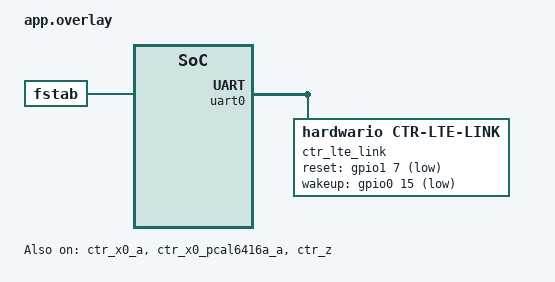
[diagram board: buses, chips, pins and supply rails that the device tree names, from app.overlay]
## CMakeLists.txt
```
#
# Copyright (c) 2024 HARDWARIO a.s.
#
# SPDX-License-Identifier: LicenseRef-HARDWARIO-5-Clause
#

cmake_minimum_required(VERSION 3.20.0)

set(ENV{FW_BUNDLE} "com.hardwario.chester.app.range")
set(ENV{FW_NAME} "CHESTER Range")

# Derive firmware version from git (see scripts/version.cmake); the fallback is
# used when git is unavailable at build time.
set(FW_VERSION_FALLBACK "v3.0.0")
include(${CMAKE_CURRENT_SOURCE_DIR}/../../scripts/version.cmake)

find_package(Zephyr REQUIRED HINTS $ENV{ZEPHYR_BASE})

project(chester-range)

include(${ZEPHYR_CHESTER_MODULE_DIR}/scripts/app_codec.cmake)

target_sources(app PRIVATE src/app_cbor.c)
target_sources(app PRIVATE src/app_config.c)
target_sources(app PRIVATE src/app_data.c)
target_sources(app PRIVATE src/app_handler.c)
target_sources(app PRIVATE src/app_init.c)
target_sources(app PRIVATE src/app_send.c)
target_sources(app PRIVATE src/app_sensor.c)
target_sources(app PRIVATE src/app_shell.c)
target_sources(app PRIVATE src/app_work.c)
target_sources(app PRIVATE src/main.c)

target_precompile_headers(app PRIVATE src/feature.h)

# ### Preserved code "cmake" (begin)
# ^^^ Preserved code "cmake" (end)
```

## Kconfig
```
#
# Copyright (c) 2024 HARDWARIO a.s.
#
# SPDX-License-Identifier: LicenseRef-HARDWARIO-5-Clause
#

menu "Application"

# CHESTER-APP-REPORT-JITTER
config APP_REPORT_JITTER
	bool "Add random time jitter to report transfers"
	default y
	select ENTROPY_GENERATOR
# HARDWARE-CHESTER-MB7066-A
config SHIELD_CTR_MB7066_A
	bool "Enable SHIELD_CTR_MB7066_A"
	default y

config CTR_X0
	default y

config MB7066
	default y
# HARDWARE-CHESTER-Z
config SHIELD_CTR_Z
	bool "Enable SHIELD_CTR_Z"
	default y

config CTR_Z
	default y

config I2C
	default y
# SUBSYSTEM-DS18B20
config SHIELD_CTR_DS18B20
	bool "Enable SHIELD_CTR_DS18B20"
	default y

config CTR_DS18B20
	default y
# SUBSYSTEM-LTE-V2
config SHIELD_CTR_LTE_V2
	bool "Enable SHIELD_CTR_LTE_V2"
	default y

config CTR_LTE_V2
	default y

# ### Preserved code "k_config" (begin)
config SHIELD_CTR_MB7066_A
	bool "Enable SHIELD_CTR_MB7066_A"
	default y
# ^^^ Preserved code "k_config" (end)

rsource "Kconfig.variant"

endmenu

menu "Zephyr Kernel"
source "Kconfig.zephyr"
endmenu
```

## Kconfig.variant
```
#
# Copyright (c) 2024 HARDWARIO a.s.
#
# SPDX-License-Identifier: LicenseRef-HARDWARIO-5-Clause
#

config VARIANT_RANGE
    bool "Enable VARIANT_RANGE"
    default y
```

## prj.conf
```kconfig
#
# Copyright (c) 2024 HARDWARIO a.s.
#
# SPDX-License-Identifier: LicenseRef-HARDWARIO-5-Clause
#

# Configurations
# SUBSYSTEM-ACCEL
CONFIG_CTR_ACCEL=y
# SUBSYSTEM-BATT
CONFIG_CTR_BATT=y
# SUBSYSTEM-BLE-TAG
CONFIG_CTR_BLE_TAG=y
# SUBSYSTEM-BLUETOOTH
CONFIG_CTR_BLE=y
# SUBSYSTEM-BT-FILTER-ACCEPT-LIST
CONFIG_BT_FILTER_ACCEPT_LIST=y
# SUBSYSTEM-BT-OBSERVER
CONFIG_BT_OBSERVER=y
# SUBSYSTEM-BUF
CONFIG_CTR_BUF=y
# SUBSYSTEM-BUTTON
CONFIG_CTR_BUTTON=y
# SUBSYSTEM-CLOUD
CONFIG_CTR_CLOUD=y
CONFIG_SETTINGS_SHELL=y
CONFIG_IMG_MANAGER=y
CONFIG_BOOTLOADER_MCUBOOT=y
CONFIG_SPI=y
CONFIG_DFU_TARGET=y
CONFIG_DFU_TARGET_STREAM=y
CONFIG_DFU_TARGET_MCUBOOT=y
CONFIG_DFU_TARGET_LOG_LEVEL_DBG=y
CONFIG_STREAM_FLASH_ERASE=y
CONFIG_STREAM_FLASH=y
CONFIG_FILE_SYSTEM=y
CONFIG_FILE_SYSTEM_LITTLEFS=y
CONFIG_FILE_SYSTEM_MKFS=y
CONFIG_FILE_SYSTEM_SHELL=y
CONFIG_SETTINGS_FILE=y
CONFIG_SETTINGS_FILE_PATH="/lfs1/settings/run"
# SUBSYSTEM-DEFAULTS
CONFIG_CTR_DEFAULTS=y
# SUBSYSTEM-DS18B20
CONFIG_CTR_DS18B20=y
# SUBSYSTEM-INFO
CONFIG_CTR_INFO=y
# SUBSYSTEM-LED
CONFIG_CTR_LED=y
# SUBSYSTEM-LOG
CONFIG_CTR_LOG=y
# SUBSYSTEM-LTE-V2
CONFIG_CTR_LTE_V2=y
# SUBSYSTEM-POWER
CONFIG_CTR_POWER=y
# SUBSYSTEM-RTC
CONFIG_CTR_RTC=y
# SUBSYSTEM-SHELL
CONFIG_CTR_SHELL=y
# SUBSYSTEM-THERM
CONFIG_CTR_THERM=y
# SUBSYSTEM-WDOG
CONFIG_CTR_WDOG=y
# SUBSYSTEM-ZCBOR
CONFIG_ZCBOR=y
CONFIG_ZCBOR_STOP_ON_ERROR=y
# Extra configurations
CONFIG_GPIO_SHELL=y
CONFIG_I2C_SHELL=y
CONFIG_ISR_TABLES_LOCAL_DECLARATION=y
CONFIG_LTO=y
CONFIG_MCUBOOT_SHELL=y

# ### Preserved code "config" (begin)
CONFIG_BUILD_OUTPUT_META=y
CONFIG_BUILD_OUTPUT_META_STATE_PROPAGATE=y
CONFIG_SETTINGS_SHELL=y

CONFIG_IMG_MANAGER=y
CONFIG_BOOTLOADER_MCUBOOT=y

CONFIG_SPI=y

CONFIG_DFU_TARGET=y
CONFIG_DFU_TARGET_STREAM=y
CONFIG_DFU_TARGET_MCUBOOT=y
CONFIG_DFU_TARGET_LOG_LEVEL_DBG=y
CONFIG_STREAM_FLASH_ERASE=y
CONFIG_STREAM_FLASH=y

# Enable file system support
CONFIG_FILE_SYSTEM=y
CONFIG_FILE_SYSTEM_LITTLEFS=y
CONFIG_FILE_SYSTEM_MKFS=y
CONFIG_FILE_SYSTEM_SHELL=y
CONFIG_SETTINGS_FILE=y
CONFIG_SETTINGS_FILE_PATH="/lfs1/settings/run"

# Use external flash for littlefs file system

CONFIG_MB7066_TIMER4=y
CONFIG_MB7066_SAMPLE_COUNT=1
CONFIG_CTR_CLOUD_SPOOL=y
# ^^^ Preserved code "config" (end)
```

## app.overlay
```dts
/*
 * Copyright (c) 2024 HARDWARIO a.s.
 *
 * SPDX-License-Identifier: LicenseRef-HARDWARIO-5-Clause
 */

/* HARDWARE-CHESTER-MB7066-A  */
&ctr_x0_a {
	status = "okay";
	mb7066: mb7066 {
		compatible = "maxbotix,mb7066";
		status = "okay";
		pin-chan = <2>;
		power-chan = <1>;
	};
};

&ctr_x0_pcal6416a_a {
	status = "okay";
};
/* HARDWARE-CHESTER-Z  */
&ctr_z {
	status = "okay";
};
/* SUBSYSTEM-CLOUD  */
/ {
	fstab {
		compatible = "zephyr,fstab";
		lfs1: lfs1 {
			compatible = "zephyr,fstab,littlefs";
			mount-point = "/lfs1";
			partition = <&littlefs_storage>;
			automount;
			read-size = <16>;
			prog-size = <16>;
			cache-size = <64>;
			lookahead-size = <32>;
			block-cycles = <512>;
		};
	};
};
/* SUBSYSTEM-DS18B20  */
&ds2484 {
	ds18b20_0: ds18b20_0 {
		compatible = "maxim,ds18b20";
		resolution = <12>;
		family-code = <0x28>;
	};

	ds18b20_1: ds18b20_1 {
		compatible = "maxim,ds18b20";
		resolution = <12>;
		family-code = <0x28>;
	};

	ds18b20_2: ds18b20_2 {
		compatible = "maxim,ds18b20";
		resolution = <12>;
		family-code = <0x28>;
	};

	ds18b20_3: ds18b20_3 {
		compatible = "maxim,ds18b20";
		resolution = <12>;
		family-code = <0x28>;
	};

	ds18b20_4: ds18b20_4 {
		compatible = "maxim,ds18b20";
		resolution = <12>;
		family-code = <0x28>;
	};

	ds18b20_5: ds18b20_5 {
		compatible = "maxim,ds18b20";
		resolution = <12>;
		family-code = <0x28>;
	};

	ds18b20_6: ds18b20_6 {
		compatible = "maxim,ds18b20";
		resolution = <12>;
		family-code = <0x28>;
	};

	ds18b20_7: ds18b20_7 {
		compatible = "maxim,ds18b20";
		resolution = <12>;
		family-code = <0x28>;
	};

	ds18b20_8: ds18b20_8 {
		compatible = "maxim,ds18b20";
		resolution = <12>;
		family-code = <0x28>;
	};

	ds18b20_9: ds18b20_9 {
		compatible = "maxim,ds18b20";
		resolution = <12>;
		family-code = <0x28>;
	};
};
/* SUBSYSTEM-LTE-V2  */
/ {
	chosen {
		ctr,lte_link = &ctr_lte_link;
	};
};

&uart0 {
	status = "okay";

	ctr_lte_link: ctr_lte_link {
		compatible = "hardwario,ctr-lte-link";
		status = "okay";
		reset-gpios = <&gpio1 7 (GPIO_ACTIVE_LOW | GPIO_OPEN_DRAIN)>;
		wakeup-gpios = <&gpio0 15 (GPIO_ACTIVE_LOW | GPIO_OPEN_DRAIN)>;
	};
};

&uart0 {
	status = "okay";
};

/* ### Preserved code "overlay" (begin) */
/ {
	fstab {
		compatible = "zephyr,fstab";
		lfs1: lfs1 {
			compatible = "zephyr,fstab,littlefs";
			mount-point = "/lfs1";
			partition = <&littlefs_storage>;
			automount;
			read-size = <16>;
			prog-size = <16>;
			cache-size = <64>;
			lookahead-size = <32>;
			block-cycles = <512>;
		};
	};
};
/* ^^^ Preserved code "overlay" (end) */
```

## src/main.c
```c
/*
 * Copyright (c) 2023 HARDWARIO a.s.
 *
 * SPDX-License-Identifier: LicenseRef-HARDWARIO-5-Clause
 */

#include "app_init.h"
#include "app_config.h"

/* CHESTER includes */
#include <chester/ctr_led.h>
#include <chester/ctr_wdog.h>

/* Zephyr includes */
#include <zephyr/kernel.h>
#include <zephyr/logging/log.h>

/* Standard includes */
#include <stdbool.h>

LOG_MODULE_REGISTER(main, LOG_LEVEL_DBG);

extern struct ctr_wdog_channel g_app_wdog_channel;

int main(void)
{
	int ret;

	LOG_INF("Build time: " __DATE__ " " __TIME__);

	ret = app_init();
	if (ret) {
		LOG_ERR("Call `app_init` failed: %d", ret);
		k_oops();
	}

	for (;;) {
		LOG_INF("Alive");

		ret = ctr_wdog_feed(&g_app_wdog_channel);
		if (ret) {
			LOG_ERR("Call `ctr_wdog_feed` failed: %d", ret);
			k_oops();
		}

		if (g_app_config.mode == APP_CONFIG_MODE_NONE) {
			ctr_led_set(CTR_LED_CHANNEL_Y, true);
			k_sleep(K_MSEC(30));
			ctr_led_set(CTR_LED_CHANNEL_Y, false);
		} else {
			ctr_led_set(CTR_LED_CHANNEL_G, true);
			k_sleep(K_MSEC(30));
			ctr_led_set(CTR_LED_CHANNEL_G, false);
		}

		k_sleep(K_SECONDS(5));
	}

	return 0;
}
```

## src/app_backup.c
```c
/*
 * Copyright (c) 2023 HARDWARIO a.s.
 *
 * SPDX-License-Identifier: LicenseRef-HARDWARIO-5-Clause
 */

#include "app_backup.h"
#include "app_data.h"
#include "feature.h"

/* CHESTER includes */
#include <chester/drivers/ctr_z.h>

/* Zephyr includes */
#include <zephyr/device.h>
#include <zephyr/devicetree.h>
#include <zephyr/kernel.h>
#include <zephyr/logging/log.h>

/* Standard includes */
#include <errno.h>
#include <math.h>
#include <stdbool.h>

LOG_MODULE_REGISTER(app_backup, LOG_LEVEL_DBG);

#if defined(FEATURE_HARDWARE_CHESTER_Z)

int app_backup_sample(void)
{
	int ret;

	static const struct device *dev = DEVICE_DT_GET(DT_NODELABEL(ctr_z));

	if (!device_is_ready(dev)) {
		LOG_ERR("Device not ready");
		ret = -ENODEV;
		goto error;
	}

	struct ctr_z_status status;
	ret = ctr_z_get_status(dev, &status);
	if (ret) {
		LOG_ERR("Call `ctr_z_get_status` failed: %d", ret);
		goto error;
	}

	LOG_INF("DC input connected: %d", status.dc_input_connected);

	uint16_t vdc;
	ret = ctr_z_get_vdc_mv(dev, &vdc);
	if (ret) {
		LOG_ERR("Call `ctr_z_get_vdc_mv` failed: %d", ret);
		goto error;
	}

	LOG_INF("Voltage DC input: %u mV", vdc);

	uint16_t vbat;
	ret = ctr_z_get_vbat_mv(dev, &vbat);
	if (ret) {
		LOG_ERR("Call `ctr_z_get_vbat_mv` failed: %d", ret);
		goto error;
	}

	LOG_INF("Voltage backup battery: %u mV", vbat);

	app_data_lock();
	g_app_data.backup.line_present = status.dc_input_connected;
	g_app_data.backup.line_voltage = vdc / 1000.f;
	g_app_data.backup.battery_voltage = vbat / 1000.f;
	app_data_unlock();

	return 0;

error:
	app_data_lock();
	g_app_data.backup.line_present = false;
	g_app_data.backup.line_voltage = NAN;
	g_app_data.backup.battery_voltage = NAN;
	app_data_unlock();

	return ret;
}

int app_backup_clear(void)
{
	app_data_lock();
	g_app_data.backup.event_count = 0;
	app_data_unlock();

	return 0;
}

#endif /* defined(FEATURE_HARDWARE_CHESTER_Z) */
```

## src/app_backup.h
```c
#ifndef APP_BACKUP_H_
#define APP_BACKUP_H_

#ifdef __cplusplus
extern "C" {
#endif

int app_backup_sample(void);
int app_backup_clear(void);

#ifdef __cplusplus
}
#endif

#endif /* APP_BACKUP_H_ */
```

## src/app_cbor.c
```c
/*
 * Copyright (c) 2024 HARDWARIO a.s.
 *
 * SPDX-License-Identifier: LicenseRef-HARDWARIO-5-Clause
 */

#include "app_cbor.h"
#include "app_codec.h"
#include "app_config.h"
#include "app_data.h"

/* CHESTER includes */
#include <chester/ctr_info.h>
#include <chester/ctr_lte_v2.h>
#include <chester/ctr_rtc.h>
#include <chester/ctr_util.h>

/* Zephyr includes */
#include <zephyr/kernel.h>
#include <zephyr/logging/log.h>

#include <zcbor_common.h>
#include <zcbor_decode.h>
#include <zcbor_encode.h>

/* Standard includes */
#include <errno.h>
#include <math.h>
#include <stdbool.h>
#include <stddef.h>
#include <stdint.h>
#include <stdlib.h>

/* ### Preserved code "functions" (begin) */
#include <chester/ctr_power.h>

__unused static void put_sample_mul(zcbor_state_t *zs, struct ctr_data_aggreg *sample, float mul)
{
	if (isnan(sample->min)) {
		zcbor_nil_put(zs, NULL);
	} else {
		int32_t v = sample->min * mul;
		zcbor_int32_put(zs, v);
	}

	if (isnan(sample->max)) {
		zcbor_nil_put(zs, NULL);
	} else {
		int32_t v = sample->max * mul;
		zcbor_int32_put(zs, v);
	}

	if (isnan(sample->avg)) {
		zcbor_nil_put(zs, NULL);
	} else {
		int32_t v = sample->avg * mul;
		zcbor_int32_put(zs, v);
	}

	if (isnan(sample->mdn)) {
		zcbor_nil_put(zs, NULL);
	} else {
		int32_t v = sample->mdn * mul;
		zcbor_int32_put(zs, v);
	}
}

__unused static void put_sample(zcbor_state_t *zs, struct ctr_data_aggreg *sample)
{
	put_sample_mul(zs, sample, 1.f);
}
/* ^^^ Preserved code "functions" (end) */

LOG_MODULE_REGISTER(app_cbor, LOG_LEVEL_DBG);

static int encode(zcbor_state_t *zs)
{
	int ret;

	zs->constant_state->stop_on_error = true;

	zcbor_map_start_encode(zs, ZCBOR_VALUE_IS_INDEFINITE_LENGTH);

	/* ### Preserved code "message" (begin) */

	zcbor_uint32_put(zs, CODEC_KEY_E_MESSAGE);
	{
		zcbor_map_start_encode(zs, ZCBOR_VALUE_IS_INDEFINITE_LENGTH);

		zcbor_uint32_put(zs, CODEC_KEY_E_MESSAGE__VERSION);
		zcbor_uint32_put(zs, 2);

		static uint32_t sequence;
		zcbor_uint32_put(zs, CODEC_KEY_E_MESSAGE__SEQUENCE);
		zcbor_uint32_put(zs, sequence++);

		uint64_t timestamp;
		ret = ctr_rtc_get_ts(&timestamp);
		if (ret) {
			LOG_ERR("Call `ctr_rtc_get_ts` failed: %d", ret);
			return ret;
		}

		zcbor_uint32_put(zs, CODEC_KEY_E_MESSAGE__TIMESTAMP);
		zcbor_uint64_put(zs, timestamp);

		zcbor_map_end_encode(zs, ZCBOR_VALUE_IS_INDEFINITE_LENGTH);
	}

	/* ^^^ Preserved code "message" (end) */

	/* ### Preserved code "system" (begin) */

	zcbor_uint32_put(zs, CODEC_KEY_E_SYSTEM);
	{
		zcbor_map_start_encode(zs, ZCBOR_VALUE_IS_INDEFINITE_LENGTH);

		zcbor_uint32_put(zs, CODEC_KEY_E_SYSTEM__UPTIME);
		zcbor_uint64_put(zs, k_uptime_get() / 1000);

		zcbor_map_end_encode(zs, ZCBOR_VALUE_IS_INDEFINITE_LENGTH);
	}

	/* ^^^ Preserved code "system" (end) */

	/* ### Preserved code "network" (begin) */

	zcbor_uint32_put(zs, CODEC_KEY_E_NETWORK);
	{
		zcbor_map_start_encode(zs, ZCBOR_VALUE_IS_INDEFINITE_LENGTH);

		zcbor_uint32_put(zs, CODEC_KEY_E_NETWORK__PARAMETER);
		{
			zcbor_map_start_encode(zs, ZCBOR_VALUE_IS_INDEFINITE_LENGTH);

			static struct ctr_lte_v2_conn_param conn_param;
			ret = ctr_lte_v2_get_conn_param(&conn_param);
			if (ret) {
				LOG_ERR("Call `ctr_lte_v2_state_get_conn_param` failed: %d", ret);
				return ret;
			}

			zcbor_uint32_put(zs, CODEC_KEY_E_NETWORK__PARAMETER__EEST);
			if (conn_param.valid) {
				zcbor_int32_put(zs, conn_param.eest);
			} else {
				zcbor_nil_put(zs, NULL);
			}

			zcbor_uint32_put(zs, CODEC_KEY_E_NETWORK__PARAMETER__ECL);
			if (conn_param.valid) {
				zcbor_int32_put(zs, conn_param.ecl);
			} else {
				zcbor_nil_put(zs, NULL);
			}

			zcbor_uint32_put(zs, CODEC_KEY_E_NETWORK__PARAMETER__RSRP);
			if (conn_param.valid) {
				zcbor_int32_put(zs, conn_param.rsrp);
			} else {
				zcbor_nil_put(zs, NULL);
			}

			zcbor_uint32_put(zs, CODEC_KEY_E_NETWORK__PARAMETER__RSRQ);
			if (conn_param.valid) {
				zcbor_int32_put(zs, conn_param.rsrq);
			} else {
				zcbor_nil_put(zs, NULL);
			}

			zcbor_uint32_put(zs, CODEC_KEY_E_NETWORK__PARAMETER__SNR);
			if (conn_param.valid) {
				zcbor_int32_put(zs, conn_param.snr);
			} else {
				zcbor_nil_put(zs, NULL);
			}

			zcbor_uint32_put(zs, CODEC_KEY_E_NETWORK__PARAMETER__PLMN);
			if (conn_param.valid) {
				zcbor_int32_put(zs, conn_param.plmn);
			} else {
				zcbor_nil_put(zs, NULL);
			}

			zcbor_uint32_put(zs, CODEC_KEY_E_NETWORK__PARAMETER__CID);
			if (conn_param.valid) {
				zcbor_int32_put(zs, conn_param.cid);
			} else {
				zcbor_nil_put(zs, NULL);
			}

			zcbor_uint32_put(zs, CODEC_KEY_E_NETWORK__PARAMETER__BAND);
			if (conn_param.valid) {
				zcbor_int32_put(zs, conn_param.band);
			} else {
				zcbor_nil_put(zs, NULL);
			}

			zcbor_uint32_put(zs, CODEC_KEY_E_NETWORK__PARAMETER__EARFCN);
			if (conn_param.valid) {
				zcbor_int32_put(zs, conn_param.earfcn);
			} else {
				zcbor_nil_put(zs, NULL);
			}

			zcbor_map_end_encode(zs, ZCBOR_VALUE_IS_INDEFINITE_LENGTH);
		}

		zcbor_map_end_encode(zs, ZCBOR_VALUE_IS_INDEFINITE_LENGTH);
	}

	/* ^^^ Preserved code "network" (end) */

	/* ### Preserved code "thermometer" (begin) */

	zcbor_uint32_put(zs, CODEC_KEY_E_THERMOMETER);
	{
		zcbor_map_start_encode(zs, ZCBOR_VALUE_IS_INDEFINITE_LENGTH);

		zcbor_uint32_put(zs, CODEC_KEY_E_THERMOMETER__TEMPERATURE);
		if (isnan(g_app_data.therm_temperature)) {
			zcbor_nil_put(zs, NULL);
		} else {
			zcbor_int32_put(zs, g_app_data.therm_temperature * 100.f);
		}

		zcbor_map_end_encode(zs, ZCBOR_VALUE_IS_INDEFINITE_LENGTH);
	}

	/* ^^^ Preserved code "thermometer" (end) */

	/* ### Preserved code "accelerometer" (begin) */

	zcbor_uint32_put(zs, CODEC_KEY_E_ACCELEROMETER);
	{
		zcbor_map_start_encode(zs, ZCBOR_VALUE_IS_INDEFINITE_LENGTH);

		zcbor_uint32_put(zs, CODEC_KEY_E_ACCELEROMETER__ACCEL_X);
		if (isnan(g_app_data.accel_acceleration_x)) {
			zcbor_nil_put(zs, NULL);
		} else {
			zcbor_int32_put(zs, g_app_data.accel_acceleration_x * 1000.f);
		}

		zcbor_uint32_put(zs, CODEC_KEY_E_ACCELEROMETER__ACCEL_Y);
		if (isnan(g_app_data.accel_acceleration_y)) {
			zcbor_nil_put(zs, NULL);
		} else {
			zcbor_int32_put(zs, g_app_data.accel_acceleration_y * 1000.f);
		}

		zcbor_uint32_put(zs, CODEC_KEY_E_ACCELEROMETER__ACCEL_Z);
		if (isnan(g_app_data.accel_acceleration_z)) {
			zcbor_nil_put(zs, NULL);
		} else {
			zcbor_int32_put(zs, g_app_data.accel_acceleration_z * 1000.f);
		}

		zcbor_uint32_put(zs, CODEC_KEY_E_ACCELEROMETER__ORIENTATION);
		if (g_app_data.accel_orientation == INT_MAX) {
			zcbor_nil_put(zs, NULL);
		} else {
			zcbor_uint32_put(zs, g_app_data.accel_orientation);
		}

		zcbor_map_end_encode(zs, ZCBOR_VALUE_IS_INDEFINITE_LENGTH);
	}

	/* ^^^ Preserved code "accelerometer" (end) */

	/* ### Preserved code "power" (begin) */

#if defined(FEATURE_SUBSYSTEM_POWER)
	ret = ctr_power_cbor_encode(zs);
	if (ret) {
		LOG_ERR("Call `ctr_power_cbor_encode` failed: %d", ret);
		return ret;
	}
#endif /* defined(FEATURE_SUBSYSTEM_POWER) */

	/* ^^^ Preserved code "power" (end) */

	/* ### Preserved code "hygrometer" (begin) */

#if defined(FEATURE_HARDWARE_CHESTER_S2)
	zcbor_uint32_put(zs, CODEC_KEY_E_HYGROMETER);
	{
		zcbor_map_start_encode(zs, ZCBOR_VALUE_IS_INDEFINITE_LENGTH);

		zcbor_uint32_put(zs, CODEC_KEY_E_HYGROMETER__TEMPERATURE);
		{
			zcbor_map_start_encode(zs, ZCBOR_VALUE_IS_INDEFINITE_LENGTH);

			zcbor_uint32_put(zs, CODEC_KEY_E_HYGROMETER__TEMPERATURE__EVENTS);
			{
				zcbor_list_start_encode(zs, ZCBOR_VALUE_IS_INDEFINITE_LENGTH);

				if (g_app_data.hygro.event_count) {
					/* TSO absolute timestamp */
					int64_t timestamp_abs =
						g_app_data.hygro.events[0].timestamp;
					zcbor_int64_put(zs, timestamp_abs);

					for (int i = 0; i < g_app_data.hygro.event_count; i++) {
						/* TSO offset timestamp */
						zcbor_int64_put(
							zs, g_app_data.hygro.events[i].timestamp -
								    timestamp_abs);
						zcbor_uint32_put(zs,
								 g_app_data.hygro.events[i].type);
						zcbor_int32_put(zs,
								g_app_data.hygro.events[i].value *
									100.f);
					}
				}
				zcbor_list_end_encode(zs, ZCBOR_VALUE_IS_INDEFINITE_LENGTH);
			}

			zcbor_uint32_put(zs, CODEC_KEY_E_HYGROMETER__TEMPERATURE__MEASUREMENTS);
			{
				zcbor_list_start_encode(zs, ZCBOR_VALUE_IS_INDEFINITE_LENGTH);

				zcbor_uint64_put(zs, g_app_data.hygro.timestamp);
				zcbor_uint32_put(zs, g_app_config.interval_aggreg);

				for (int i = 0; i < g_app_data.hygro.measurement_count; i++) {
					put_sample_mul(
						zs, &g_app_data.hygro.measurements[i].temperature,
						100.f);
				}

				zcbor_list_end_encode(zs, ZCBOR_VALUE_IS_INDEFINITE_LENGTH);
			}
			zcbor_map_end_encode(zs, ZCBOR_VALUE_IS_INDEFINITE_LENGTH);
		}

		zcbor_uint32_put(zs, CODEC_KEY_E_HYGROMETER__HUMIDITY);
		{
			zcbor_map_start_encode(zs, ZCBOR_VALUE_IS_INDEFINITE_LENGTH);

			zcbor_uint32_put(zs, CODEC_KEY_E_HYGROMETER__HUMIDITY__MEASUREMENTS);
			{
				zcbor_list_start_encode(zs, ZCBOR_VALUE_IS_INDEFINITE_LENGTH);

				zcbor_uint64_put(zs, g_app_data.hygro.timestamp);
				zcbor_uint32_put(zs, g_app_config.interval_aggreg);

				for (int i = 0; i < g_app_data.hygro.measurement_count; i++) {
					put_sample_mul(zs,
						       &g_app_data.hygro.measurements[i].humidity,
						       100.f);
				}

				zcbor_list_end_encode(zs, ZCBOR_VALUE_IS_INDEFINITE_LENGTH);
			}
			zcbor_map_end_encode(zs, ZCBOR_VALUE_IS_INDEFINITE_LENGTH);
		}

		zcbor_map_end_encode(zs, ZCBOR_VALUE_IS_INDEFINITE_LENGTH);
	}
#endif /* defined(FEATURE_HARDWARE_CHESTER_S2) */

	/* ^^^ Preserved code "hygrometer" (end) */

	/* ### Preserved code "w1_thermometers" (begin) */

#if defined(CONFIG_SHIELD_CTR_DS18B20)
	zcbor_uint32_put(zs, CODEC_KEY_E_W1_THERMOMETERS);
	{
		zcbor_list_start_encode(zs, ZCBOR_VALUE_IS_INDEFINITE_LENGTH);
		for (int i = 0; i < APP_DATA_W1_THERM_COUNT; i++) {
			struct app_data_w1_therm_sensor *sensor = &g_app_data.w1_therm.sensor[i];

			if (!sensor->serial_number) {
				continue;
			}

			zcbor_map_start_encode(zs, ZCBOR_VALUE_IS_INDEFINITE_LENGTH);

			zcbor_uint32_put(zs, CODEC_KEY_E_W1_THERMOMETERS__SERIAL_NUMBER);
			zcbor_uint64_put(zs, sensor->serial_number);

			zcbor_uint32_put(zs, CODEC_KEY_E_W1_THERMOMETERS__MEASUREMENTS);
			{
				zcbor_list_start_encode(zs, ZCBOR_VALUE_IS_INDEFINITE_LENGTH);

				zcbor_uint64_put(zs, g_app_data.w1_therm.timestamp);
				zcbor_uint32_put(zs, g_app_config.interval_aggreg);

				for (int j = 0; j < sensor->measurement_count; j++) {
					put_sample_mul(zs, &sensor->measurements[j].temperature,
						       100.f);
				}

				zcbor_list_end_encode(zs, ZCBOR_VALUE_IS_INDEFINITE_LENGTH);
			}

			zcbor_map_end_encode(zs, ZCBOR_VALUE_IS_INDEFINITE_LENGTH);
		}
		zcbor_list_end_encode(zs, ZCBOR_VALUE_IS_INDEFINITE_LENGTH);
	}
#endif /* defined(CONFIG_SHIELD_CTR_DS18B20) */

	/* ^^^ Preserved code "w1_thermometers" (end) */

	/* ### Preserved code "ultrasonic_ranger" (begin) */

	zcbor_uint32_put(zs, CODEC_KEY_E_ULTRASONIC_RANGER);
	{
		zcbor_map_start_encode(zs, ZCBOR_VALUE_IS_INDEFINITE_LENGTH);

		zcbor_uint32_put(zs, CODEC_KEY_E_ULTRASONIC_RANGER__MEASUREMENTS);
		{
			zcbor_list_start_encode(zs, ZCBOR_VALUE_IS_INDEFINITE_LENGTH);

			zcbor_uint64_put(zs, g_app_data.sonar.timestamp); /* timestamp in seconds */
			zcbor_uint32_put(zs, g_app_config.interval_aggreg); /* period in seconds */

			for (int i = 0; i < g_app_data.sonar.measurement_count; i++) {
				put_sample_mul(zs, &g_app_data.sonar.measurements[i], 100);
			}

			zcbor_list_end_encode(zs, ZCBOR_VALUE_IS_INDEFINITE_LENGTH);
		}

		zcbor_map_end_encode(zs, ZCBOR_VALUE_IS_INDEFINITE_LENGTH);
	}

	/* ^^^ Preserved code "ultrasonic_ranger" (end) */

	/* ### Preserved code "ble_tags" (begin) */

#if defined(FEATURE_SUBSYSTEM_BLE_TAG)
	zcbor_int32_put(zs, CODEC_KEY_E_BLE_TAGS);
	{
		zcbor_list_start_encode(zs, ZCBOR_VALUE_IS_INDEFINITE_LENGTH);
		for (int i = 0; i < CTR_BLE_TAG_COUNT; i++) {
			struct app_data_ble_tag_sensor *sensor = &g_app_data.ble_tag.sensor[i];

			if (ctr_ble_tag_is_addr_empty(sensor->addr)) {
				continue;
			}

			zcbor_map_start_encode(zs, ZCBOR_VALUE_IS_INDEFINITE_LENGTH);
			{

				zcbor_uint32_put(zs, CODEC_KEY_E_BLE_TAGS__ADDR);
				{
					char addr_str[BT_ADDR_SIZE * 2 + 1] = {0};
					ctr_buf2hex(sensor->addr, BT_ADDR_SIZE, addr_str,
						    BT_ADDR_SIZE * 2 + 1, false);
					zcbor_tstr_put_lit(zs, addr_str);
				}

				zcbor_uint32_put(zs, CODEC_KEY_E_BLE_TAGS__RSSI);
				if (sensor->rssi < 0) {
					zcbor_int32_put(zs, sensor->rssi);
				} else {
					zcbor_nil_put(zs, NULL);
				}

				zcbor_uint32_put(zs, CODEC_KEY_E_BLE_TAGS__VOLTAGE);
				if (!isnan(sensor->voltage)) {
					zcbor_uint32_put(zs, sensor->voltage * 100.f);
				} else {
					zcbor_nil_put(zs, NULL);
				}

				zcbor_uint32_put(zs, CODEC_KEY_E_BLE_TAGS__TEMPERATURE);
				{
					zcbor_map_start_encode(zs,
							       ZCBOR_VALUE_IS_INDEFINITE_LENGTH);
					zcbor_uint32_put(
						zs,
						CODEC_KEY_E_BLE_TAGS__TEMPERATURE__MEASUREMENTS);
					{
						zcbor_list_start_encode(
							zs, ZCBOR_VALUE_IS_INDEFINITE_LENGTH);

						zcbor_uint64_put(zs, g_app_data.ble_tag.timestamp);
						zcbor_uint32_put(zs, g_app_config.interval_aggreg);

						for (int j = 0; j < sensor->measurement_count;
						     j++) {
							put_sample_mul(zs,
								       &sensor->measurements[j]
										.temperature,
								       100.f);
						}
						zcbor_list_end_encode(
							zs, ZCBOR_VALUE_IS_INDEFINITE_LENGTH);
					}
					zcbor_map_end_encode(zs, ZCBOR_VALUE_IS_INDEFINITE_LENGTH);
				}

				zcbor_int32_put(zs, CODEC_KEY_E_BLE_TAGS__HUMIDITY);
				{
					zcbor_map_start_encode(zs,
							       ZCBOR_VALUE_IS_INDEFINITE_LENGTH);
					zcbor_uint32_put(
						zs, CODEC_KEY_E_BLE_TAGS__HUMIDITY__MEASUREMENTS);
					{
						zcbor_list_start_encode(
							zs, ZCBOR_VALUE_IS_INDEFINITE_LENGTH);

						zcbor_uint64_put(zs, g_app_data.ble_tag.timestamp);
						zcbor_uint32_put(zs, g_app_config.interval_aggreg);

						for (int j = 0; j < sensor->measurement_count;
						     j++) {
							put_sample_mul(
								zs,
								&sensor->measurements[j].humidity,
								100.f);
						}
						zcbor_list_end_encode(
							zs, ZCBOR_VALUE_IS_INDEFINITE_LENGTH);
					}
					zcbor_map_end_encode(zs, ZCBOR_VALUE_IS_INDEFINITE_LENGTH);
				}
			}

			zcbor_map_end_encode(zs, ZCBOR_VALUE_IS_INDEFINITE_LENGTH);
		}

		zcbor_list_end_encode(zs, ZCBOR_VALUE_IS_INDEFINITE_LENGTH);
	}
#endif /* defined(FEATURE_SUBSYSTEM_BLE_TAG) */

	/* ^^^ Preserved code "ble_tags" (end) */

	zcbor_map_end_encode(zs, ZCBOR_VALUE_IS_INDEFINITE_LENGTH);

	if (!zcbor_check_error(zs)) {
		LOG_ERR("Encoding failed: %d", zcbor_pop_error(zs));
		return -EFAULT;
	}

	return 0;
}

int app_cbor_encode(zcbor_state_t *zs)
{
	int ret;

	app_data_lock();

	ret = encode(zs);
	if (ret) {
		LOG_ERR("Call `encode` failed: %d", ret);
		app_data_unlock();
		return ret;
	}

	app_data_unlock();

	return 0;
}
```

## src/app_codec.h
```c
#ifndef CODEC_H_
#define CODEC_H_

/* This file has been generated using the script gen-codec.py */

#ifdef __cplusplus
extern "C" {
#endif

#define CODEC_CLOUD_DECODER_HASH ((uint64_t)0xd94a4103737a73d2)
#define CODEC_CLOUD_ENCODER_HASH ((uint64_t)0x0000000000000000)

enum codec_key_e {
	CODEC_KEY_E_MESSAGE = 0,
	CODEC_KEY_E_MESSAGE__VERSION = 1,
	CODEC_KEY_E_MESSAGE__SEQUENCE = 2,
	CODEC_KEY_E_MESSAGE__TIMESTAMP = 3,
	CODEC_KEY_E_SYSTEM = 4,
	CODEC_KEY_E_SYSTEM__UPTIME = 5,
	CODEC_KEY_E_SYSTEM__VOLTAGE_LOAD = 6,
	CODEC_KEY_E_SYSTEM__VOLTAGE_REST = 7,
	CODEC_KEY_E_SYSTEM__CURRENT_LOAD = 8,
	CODEC_KEY_E_NETWORK = 9,
	CODEC_KEY_E_NETWORK__PARAMETER = 10,
	CODEC_KEY_E_NETWORK__PARAMETER__EEST = 11,
	CODEC_KEY_E_NETWORK__PARAMETER__ECL = 12,
	CODEC_KEY_E_NETWORK__PARAMETER__RSRP = 13,
	CODEC_KEY_E_NETWORK__PARAMETER__RSRQ = 14,
	CODEC_KEY_E_NETWORK__PARAMETER__SNR = 15,
	CODEC_KEY_E_NETWORK__PARAMETER__PLMN = 16,
	CODEC_KEY_E_NETWORK__PARAMETER__CID = 17,
	CODEC_KEY_E_NETWORK__PARAMETER__BAND = 18,
	CODEC_KEY_E_NETWORK__PARAMETER__EARFCN = 19,
	CODEC_KEY_E_THERMOMETER = 20,
	CODEC_KEY_E_THERMOMETER__TEMPERATURE = 21,
	CODEC_KEY_E_ACCELEROMETER = 22,
	CODEC_KEY_E_ACCELEROMETER__ACCEL_X = 23,
	CODEC_KEY_E_ACCELEROMETER__ACCEL_Y = 24,
	CODEC_KEY_E_ACCELEROMETER__ACCEL_Z = 25,
	CODEC_KEY_E_ACCELEROMETER__ORIENTATION = 26,
	CODEC_KEY_E_BACKUP = 27,
	CODEC_KEY_E_BACKUP__LINE_VOLTAGE = 28,
	CODEC_KEY_E_BACKUP__BATT_VOLTAGE = 29,
	CODEC_KEY_E_BACKUP__STATE = 30,
	CODEC_KEY_E_BACKUP__STATE__EVENTS = 31,
	CODEC_KEY_E_HYGROMETER = 32,
	CODEC_KEY_E_HYGROMETER__TEMPERATURE = 33,
	CODEC_KEY_E_HYGROMETER__TEMPERATURE__EVENTS = 34,
	CODEC_KEY_E_HYGROMETER__TEMPERATURE__MEASUREMENTS = 35,
	CODEC_KEY_E_HYGROMETER__HUMIDITY = 36,
	CODEC_KEY_E_HYGROMETER__HUMIDITY__MEASUREMENTS = 37,
	CODEC_KEY_E_W1_THERMOMETERS = 38,
	CODEC_KEY_E_W1_THERMOMETERS__SERIAL_NUMBER = 39,
	CODEC_KEY_E_W1_THERMOMETERS__MEASUREMENTS = 40,
	CODEC_KEY_E_ULTRASONIC_RANGER = 41,
	CODEC_KEY_E_ULTRASONIC_RANGER__MEASUREMENTS = 42,
	CODEC_KEY_E_BLE_TAGS = 43,
	CODEC_KEY_E_BLE_TAGS__ADDR = 44,
	CODEC_KEY_E_BLE_TAGS__RSSI = 45,
	CODEC_KEY_E_BLE_TAGS__VOLTAGE = 46,
	CODEC_KEY_E_BLE_TAGS__TEMPERATURE = 47,
	CODEC_KEY_E_BLE_TAGS__TEMPERATURE__MEASUREMENTS = 48,
	CODEC_KEY_E_BLE_TAGS__HUMIDITY = 49,
	CODEC_KEY_E_BLE_TAGS__HUMIDITY__MEASUREMENTS = 50,
};

#define CODEC_CLOUD_OPTIONS_STATIC(_name) \
	static const uint8_t _name##_cloud_decoder[] = CLOUD_DECODER_BUFFER; \
	static struct ctr_cloud_options _name = { \
		.decoder_hash = CODEC_CLOUD_DECODER_HASH, \
		.encoder_hash = CODEC_CLOUD_ENCODER_HASH, \
		.decoder_buf = _name##_cloud_decoder, \
		.decoder_len = 1341, \
		.encoder_buf = NULL, \
		.encoder_len = 0, \
}

#define CLOUD_DECODER_BUFFER { \
	0xa4, 0x67, 0x76, 0x65, 0x72, 0x73, 0x69, 0x6f, \
	0x6e, 0x02, 0x64, 0x74, 0x79, 0x70, 0x65, 0x67, \
	0x64, 0x65, 0x63, 0x6f, 0x64, 0x65, 0x72, 0x64, \
	0x6e, 0x61, 0x6d, 0x65, 0x78, 0x1f, 0x63, 0x6f, \
	0x6d, 0x2e, 0x68, 0x61, 0x72, 0x64, 0x77, 0x61, \
	0x72, 0x69, 0x6f, 0x2e, 0x63, 0x68, 0x65, 0x73, \
	0x74, 0x65, 0x72, 0x2e, 0x61, 0x70, 0x70, 0x2e, \
	0x72, 0x61, 0x6e, 0x67, 0x65, 0x66, 0x73, 0x63, \
	0x68, 0x65, 0x6d, 0x61, 0x8a, 0xa1, 0x67, 0x6d, \
	0x65, 0x73, 0x73, 0x61, 0x67, 0x65, 0x83, 0xa1, \
	0x67, 0x76, 0x65, 0x72, 0x73, 0x69, 0x6f, 0x6e, \
	0xf6, 0xa1, 0x68, 0x73, 0x65, 0x71, 0x75, 0x65, \
	0x6e, 0x63, 0x65, 0xf6, 0xa1, 0x69, 0x74, 0x69, \
	0x6d, 0x65, 0x73, 0x74, 0x61, 0x6d, 0x70, 0xf6, \
	0xa1, 0x66, 0x73, 0x79, 0x73, 0x74, 0x65, 0x6d, \
	0x84, 0xa1, 0x66, 0x75, 0x70, 0x74, 0x69, 0x6d, \
	0x65, 0xf6, 0xa1, 0x6c, 0x76, 0x6f, 0x6c, 0x74, \
	0x61, 0x67, 0x65, 0x5f, 0x6c, 0x6f, 0x61, 0x64, \
	0x82, 0xa1, 0x64, 0x24, 0x64, 0x69, 0x76, 0x19, \
	0x03, 0xe8, 0xa1, 0x64, 0x24, 0x66, 0x70, 0x70, \
	0x02, 0xa1, 0x6c, 0x76, 0x6f, 0x6c, 0x74, 0x61, \
	0x67, 0x65, 0x5f, 0x72, 0x65, 0x73, 0x74, 0x82, \
	0xa1, 0x64, 0x24, 0x64, 0x69, 0x76, 0x19, 0x03, \
	0xe8, 0xa1, 0x64, 0x24, 0x66, 0x70, 0x70, 0x02, \
	0xa1, 0x6c, 0x63, 0x75, 0x72, 0x72, 0x65, 0x6e, \
	0x74, 0x5f, 0x6c, 0x6f, 0x61, 0x64, 0xf6, 0xa1, \
	0x67, 0x6e, 0x65, 0x74, 0x77, 0x6f, 0x72, 0x6b, \
	0x81, 0xa1, 0x69, 0x70, 0x61, 0x72, 0x61, 0x6d, \
	0x65, 0x74, 0x65, 0x72, 0x89, 0xa1, 0x64, 0x65, \
	0x65, 0x73, 0x74, 0xf6, 0xa1, 0x63, 0x65, 0x63, \
	0x6c, 0xf6, 0xa1, 0x64, 0x72, 0x73, 0x72, 0x70, \
	0xf6, 0xa1, 0x64, 0x72, 0x73, 0x72, 0x71, 0xf6, \
	0xa1, 0x63, 0x73, 0x6e, 0x72, 0xf6, 0xa1, 0x64, \
	0x70, 0x6c, 0x6d, 0x6e, 0xf6, 0xa1, 0x63, 0x63, \
	0x69, 0x64, 0xf6, 0xa1, 0x64, 0x62, 0x61, 0x6e, \
	0x64, 0xf6, 0xa1, 0x66, 0x65, 0x61, 0x72, 0x66, \
	0x63, 0x6e, 0xf6, 0xa1, 0x6b, 0x74, 0x68, 0x65, \
	0x72, 0x6d, 0x6f, 0x6d, 0x65, 0x74, 0x65, 0x72, \
	0x81, 0xa1, 0x6b, 0x74, 0x65, 0x6d, 0x70, 0x65, \
	0x72, 0x61, 0x74, 0x75, 0x72, 0x65, 0x82, 0xa1, \
	0x64, 0x24, 0x64, 0x69, 0x76, 0x18, 0x64, 0xa1, \
	0x64, 0x24, 0x66, 0x70, 0x70, 0x02, 0xa1, 0x6d, \
	0x61, 0x63, 0x63, 0x65, 0x6c, 0x65, 0x72, 0x6f, \
	0x6d, 0x65, 0x74, 0x65, 0x72, 0x84, 0xa1, 0x67, \
	0x61, 0x63, 0x63, 0x65, 0x6c, 0x5f, 0x78, 0x82, \
	0xa1, 0x64, 0x24, 0x64, 0x69, 0x76, 0x19, 0x03, \
	0xe8, 0xa1, 0x64, 0x24, 0x66, 0x70, 0x70, 0x02, \
	0xa1, 0x67, 0x61, 0x63, 0x63, 0x65, 0x6c, 0x5f, \
	0x79, 0x82, 0xa1, 0x64, 0x24, 0x64, 0x69, 0x76, \
	0x19, 0x03, 0xe8, 0xa1, 0x64, 0x24, 0x66, 0x70, \
	0x70, 0x02, 0xa1, 0x67, 0x61, 0x63, 0x63, 0x65, \
	0x6c, 0x5f, 0x7a, 0x82, 0xa1, 0x64, 0x24, 0x64, \
	0x69, 0x76, 0x19, 0x03, 0xe8, 0xa1, 0x64, 0x24, \
	0x66, 0x70, 0x70, 0x02, 0xa1, 0x6b, 0x6f, 0x72, \
	0x69, 0x65, 0x6e, 0x74, 0x61, 0x74, 0x69, 0x6f, \
	0x6e, 0xf6, 0xa1, 0x66, 0x62, 0x61, 0x63, 0x6b, \
	0x75, 0x70, 0x83, 0xa1, 0x6c, 0x6c, 0x69, 0x6e, \
	0x65, 0x5f, 0x76, 0x6f, 0x6c, 0x74, 0x61, 0x67, \
	0x65, 0x82, 0xa1, 0x64, 0x24, 0x64, 0x69, 0x76, \
	0x19, 0x03, 0xe8, 0xa1, 0x64, 0x24, 0x66, 0x70, \
	0x70, 0x02, 0xa1, 0x6c, 0x62, 0x61, 0x74, 0x74, \
	0x5f, 0x76, 0x6f, 0x6c, 0x74, 0x61, 0x67, 0x65, \
	0x82, 0xa1, 0x64, 0x24, 0x64, 0x69, 0x76, 0x19, \
	0x03, 0xe8, 0xa1, 0x64, 0x24, 0x66, 0x70, 0x70, \
	0x02, 0xa1, 0x65, 0x73, 0x74, 0x61, 0x74, 0x65, \
	0x82, 0xa1, 0x65, 0x24, 0x65, 0x6e, 0x75, 0x6d, \
	0x82, 0x6c, 0x64, 0x69, 0x73, 0x63, 0x6f, 0x6e, \
	0x6e, 0x65, 0x63, 0x74, 0x65, 0x64, 0x69, 0x63, \
	0x6f, 0x6e, 0x6e, 0x65, 0x63, 0x74, 0x65, 0x64, \
	0xa1, 0x66, 0x65, 0x76, 0x65, 0x6e, 0x74, 0x73, \
	0x81, 0xa1, 0x64, 0x24, 0x74, 0x73, 0x6f, 0x81, \
	0xa1, 0x64, 0x74, 0x79, 0x70, 0x65, 0x81, 0xa1, \
	0x65, 0x24, 0x65, 0x6e, 0x75, 0x6d, 0x82, 0x6c, \
	0x64, 0x69, 0x73, 0x63, 0x6f, 0x6e, 0x6e, 0x65, \
	0x63, 0x74, 0x65, 0x64, 0x69, 0x63, 0x6f, 0x6e, \
	0x6e, 0x65, 0x63, 0x74, 0x65, 0x64, 0xa1, 0x6a, \
	0x68, 0x79, 0x67, 0x72, 0x6f, 0x6d, 0x65, 0x74, \
	0x65, 0x72, 0x82, 0xa1, 0x6b, 0x74, 0x65, 0x6d, \
	0x70, 0x65, 0x72, 0x61, 0x74, 0x75, 0x72, 0x65, \
	0x82, 0xa1, 0x66, 0x65, 0x76, 0x65, 0x6e, 0x74, \
	0x73, 0x81, 0xa1, 0x64, 0x24, 0x74, 0x73, 0x6f, \
	0x81, 0xa1, 0x64, 0x74, 0x79, 0x70, 0x65, 0x81, \
	0xa1, 0x65, 0x24, 0x65, 0x6e, 0x75, 0x6d, 0x82, \
	0x6c, 0x64, 0x69, 0x73, 0x63, 0x6f, 0x6e, 0x6e, \
	0x65, 0x63, 0x74, 0x65, 0x64, 0x69, 0x63, 0x6f, \
	0x6e, 0x6e, 0x65, 0x63, 0x74, 0x65, 0x64, 0xa1, \
	0x6c, 0x6d, 0x65, 0x61, 0x73, 0x75, 0x72, 0x65, \
	0x6d, 0x65, 0x6e, 0x74, 0x73, 0x81, 0xa1, 0x64, \
	0x24, 0x74, 0x73, 0x70, 0x81, 0xa1, 0x65, 0x76, \
	0x61, 0x6c, 0x75, 0x65, 0x82, 0xa1, 0x64, 0x24, \
	0x64, 0x69, 0x76, 0x18, 0x64, 0xa1, 0x64, 0x24, \
	0x66, 0x70, 0x70, 0x02, 0xa1, 0x68, 0x68, 0x75, \
	0x6d, 0x69, 0x64, 0x69, 0x74, 0x79, 0x81, 0xa1, \
	0x6c, 0x6d, 0x65, 0x61, 0x73, 0x75, 0x72, 0x65, \
	0x6d, 0x65, 0x6e, 0x74, 0x73, 0x81, 0xa1, 0x64, \
	0x24, 0x74, 0x73, 0x70, 0x81, 0xa1, 0x65, 0x76, \
	0x61, 0x6c, 0x75, 0x65, 0x82, 0xa1, 0x64, 0x24, \
	0x64, 0x69, 0x76, 0x18, 0x64, 0xa1, 0x64, 0x24, \
	0x66, 0x70, 0x70, 0x02, 0xa1, 0x6f, 0x77, 0x31, \
	0x5f, 0x74, 0x68, 0x65, 0x72, 0x6d, 0x6f, 0x6d, \
	0x65, 0x74, 0x65, 0x72, 0x73, 0x82, 0xa1, 0x6d, \
	0x73, 0x65, 0x72, 0x69, 0x61, 0x6c, 0x5f, 0x6e, \
	0x75, 0x6d, 0x62, 0x65, 0x72, 0xf6, 0xa1, 0x6c, \
	0x6d, 0x65, 0x61, 0x73, 0x75, 0x72, 0x65, 0x6d, \
	0x65, 0x6e, 0x74, 0x73, 0x81, 0xa1, 0x64, 0x24, \
	0x74, 0x73, 0x70, 0x84, 0xa1, 0x63, 0x6d, 0x69, \
	0x6e, 0x82, 0xa1, 0x64, 0x24, 0x64, 0x69, 0x76, \
	0x18, 0x64, 0xa1, 0x64, 0x24, 0x66, 0x70, 0x70, \
	0x02, 0xa1, 0x63, 0x6d, 0x61, 0x78, 0x82, 0xa1, \
	0x64, 0x24, 0x64, 0x69, 0x76, 0x18, 0x64, 0xa1, \
	0x64, 0x24, 0x66, 0x70, 0x70, 0x02, 0xa1, 0x63, \
	0x61, 0x76, 0x67, 0x82, 0xa1, 0x64, 0x24, 0x64, \
	0x69, 0x76, 0x18, 0x64, 0xa1, 0x64, 0x24, 0x66, \
	0x70, 0x70, 0x02, 0xa1, 0x63, 0x6d, 0x64, 0x6e, \
	0x82, 0xa1, 0x64, 0x24, 0x64, 0x69, 0x76, 0x18, \
	0x64, 0xa1, 0x64, 0x24, 0x66, 0x70, 0x70, 0x02, \
	0xa1, 0x71, 0x75, 0x6c, 0x74, 0x72, 0x61, 0x73, \
	0x6f, 0x6e, 0x69, 0x63, 0x5f, 0x72, 0x61, 0x6e, \
	0x67, 0x65, 0x72, 0x81, 0xa1, 0x6c, 0x6d, 0x65, \
	0x61, 0x73, 0x75, 0x72, 0x65, 0x6d, 0x65, 0x6e, \
	0x74, 0x73, 0x81, 0xa1, 0x64, 0x24, 0x74, 0x73, \
	0x70, 0x84, 0xa1, 0x63, 0x6d, 0x69, 0x6e, 0x82, \
	0xa1, 0x64, 0x24, 0x64, 0x69, 0x76, 0x18, 0x64, \
	0xa1, 0x64, 0x24, 0x66, 0x70, 0x70, 0x02, 0xa1, \
	0x63, 0x6d, 0x61, 0x78, 0x82, 0xa1, 0x64, 0x24, \
	0x64, 0x69, 0x76, 0x18, 0x64, 0xa1, 0x64, 0x24, \
	0x66, 0x70, 0x70, 0x02, 0xa1, 0x63, 0x61, 0x76, \
	0x67, 0x82, 0xa1, 0x64, 0x24, 0x64, 0x69, 0x76, \
	0x18, 0x64, 0xa1, 0x64, 0x24, 0x66, 0x70, 0x70, \
	0x02, 0xa1, 0x63, 0x6d, 0x64, 0x6e, 0x82, 0xa1, \
	0x64, 0x24, 0x64, 0x69, 0x76, 0x18, 0x64, 0xa1, \
	0x64, 0x24, 0x66, 0x70, 0x70, 0x02, 0xa1, 0x68, \
	0x62, 0x6c, 0x65, 0x5f, 0x74, 0x61, 0x67, 0x73, \
	0x85, 0xa1, 0x64, 0x61, 0x64, 0x64, 0x72, 0xf6, \
	0xa1, 0x64, 0x72, 0x73, 0x73, 0x69, 0xf6, 0xa1, \
	0x67, 0x76, 0x6f, 0x6c, 0x74, 0x61, 0x67, 0x65, \
	0x82, 0xa1, 0x64, 0x24, 0x64, 0x69, 0x76, 0x18, \
	0x64, 0xa1, 0x64, 0x24, 0x66, 0x70, 0x70, 0x02, \
	0xa1, 0x6b, 0x74, 0x65, 0x6d, 0x70, 0x65, 0x72, \
	0x61, 0x74, 0x75, 0x72, 0x65, 0x81, 0xa1, 0x6c, \
	0x6d, 0x65, 0x61, 0x73, 0x75, 0x72, 0x65, 0x6d, \
	0x65, 0x6e, 0x74, 0x73, 0x81, 0xa1, 0x64, 0x24, \
	0x74, 0x73, 0x70, 0x84, 0xa1, 0x63, 0x6d, 0x69, \
	0x6e, 0x82, 0xa1, 0x64, 0x24, 0x64, 0x69, 0x76, \
	0x18, 0x64, 0xa1, 0x64, 0x24, 0x66, 0x70, 0x70, \
	0x02, 0xa1, 0x63, 0x6d, 0x61, 0x78, 0x82, 0xa1, \
	0x64, 0x24, 0x64, 0x69, 0x76, 0x18, 0x64, 0xa1, \
	0x64, 0x24, 0x66, 0x70, 0x70, 0x02, 0xa1, 0x63, \
	0x61, 0x76, 0x67, 0x82, 0xa1, 0x64, 0x24, 0x64, \
	0x69, 0x76, 0x18, 0x64, 0xa1, 0x64, 0x24, 0x66, \
	0x70, 0x70, 0x02, 0xa1, 0x63, 0x6d, 0x64, 0x6e, \
	0x82, 0xa1, 0x64, 0x24, 0x64, 0x69, 0x76, 0x18, \
	0x64, 0xa1, 0x64, 0x24, 0x66, 0x70, 0x70, 0x02, \
	0xa1, 0x68, 0x68, 0x75, 0x6d, 0x69, 0x64, 0x69, \
	0x74, 0x79, 0x81, 0xa1, 0x6c, 0x6d, 0x65, 0x61, \
	0x73, 0x75, 0x72, 0x65, 0x6d, 0x65, 0x6e, 0x74, \
	0x73, 0x81, 0xa1, 0x64, 0x24, 0x74, 0x73, 0x70, \
	0x84, 0xa1, 0x63, 0x6d, 0x69, 0x6e, 0x82, 0xa1, \
	0x64, 0x24, 0x64, 0x69, 0x76, 0x18, 0x64, 0xa1, \
	0x64, 0x24, 0x66, 0x70, 0x70, 0x02, 0xa1, 0x63, \
	0x6d, 0x61, 0x78, 0x82, 0xa1, 0x64, 0x24, 0x64, \
	0x69, 0x76, 0x18, 0x64, 0xa1, 0x64, 0x24, 0x66, \
	0x70, 0x70, 0x02, 0xa1, 0x63, 0x61, 0x76, 0x67, \
	0x82, 0xa1, 0x64, 0x24, 0x64, 0x69, 0x76, 0x18, \
	0x64, 0xa1, 0x64, 0x24, 0x66, 0x70, 0x70, 0x02, \
	0xa1, 0x63, 0x6d, 0x64, 0x6e, 0x82, 0xa1, 0x64, \
	0x24, 0x64, 0x69, 0x76, 0x18, 0x64, 0xa1, 0x64, \
	0x24, 0x66, 0x70, 0x70, 0x02, \
}

#ifdef __cplusplus
}
#endif

#endif /* CODEC_H_ */
```

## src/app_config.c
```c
/*
 * Copyright (c) 2024 HARDWARIO a.s.
 *
 * SPDX-License-Identifier: LicenseRef-HARDWARIO-5-Clause
 */

#include "app_config.h"

/* CHESTER includes */
#include <chester/ctr_config.h>

/* Zephyr includes */
#include <zephyr/init.h>
#include <zephyr/kernel.h>
#include <zephyr/logging/log.h>
#include <zephyr/settings/settings.h>
#include <zephyr/shell/shell.h>

/* Standard includes */
#include <stdbool.h>
#include <stdio.h>
#include <stdlib.h>
#include <string.h>

/* ### Preserved code "includes" (begin) */
/* ^^^ Preserved code "includes" (end) */

LOG_MODULE_REGISTER(app_config, LOG_LEVEL_DBG);

#define SETTINGS_PFX "app-range"

struct app_config g_app_config;

static struct app_config m_config_interim;

/* clang-format off */
const struct ctr_config_item items[] = {
	CTR_CONFIG_ITEM_INT("interval-sample", m_config_interim.interval_sample, 1, 86400, "Get/Set sample interval in seconds.", 60),
	CTR_CONFIG_ITEM_INT("interval-aggreg", m_config_interim.interval_aggreg, 1, 86400, "Get/Set aggregate interval in seconds .", 300),
	CTR_CONFIG_ITEM_INT("interval-report", m_config_interim.interval_report, 30, 86400, "Get/Set report interval in seconds.", 1800),
	CTR_CONFIG_ITEM_INT("interval-poll", m_config_interim.interval_poll, 0, 86400, "Get/Set polling interval in seconds.", 0),
	CTR_CONFIG_ITEM_INT("downlink-wdg-interval", m_config_interim.downlink_wdg_interval, 0, 1209600, "Get/Set downlink watchdog interval in seconds (disabled if 0).", 129600),
	CTR_CONFIG_ITEM_INT("event-report-delay", m_config_interim.event_report_delay, 1, 86400, "Get/Set event report delay in seconds.", 1),
	CTR_CONFIG_ITEM_INT("event-report-rate", m_config_interim.event_report_rate, 1, 3600, "Get/Set event report rate in reports per hour.", 30),

#if defined(FEATURE_HARDWARE_CHESTER_S2)
	CTR_CONFIG_ITEM_BOOL("hygro-t-alarm-hi-report", m_config_interim.hygro_t_alarm_hi_report, "Get/Set report when hygro high temperature alarm is crossed.", false),
	CTR_CONFIG_ITEM_BOOL("hygro-t-alarm-lo-report", m_config_interim.hygro_t_alarm_lo_report, "Get/Set report when hygro low temperature alarm is crossed.", false),
	CTR_CONFIG_ITEM_FLOAT("hygro-t-alarm-hi-thr", m_config_interim.hygro_t_alarm_hi_thr, -40.0f, 125.0f, "Get/Set hygro high temperature alarm threshold.", 0.0f),
	CTR_CONFIG_ITEM_FLOAT("hygro-t-alarm-hi-hst", m_config_interim.hygro_t_alarm_hi_hst, 0.0f, 100.0f, "Get/Set hygro high temperature alarm hysteresis.", 0.0f),
	CTR_CONFIG_ITEM_FLOAT("hygro-t-alarm-lo-thr", m_config_interim.hygro_t_alarm_lo_thr, -40.0f, 125.0f, "Get/Set hygro low temperature alarm threshold.", 0.0f),
	CTR_CONFIG_ITEM_FLOAT("hygro-t-alarm-lo-hst", m_config_interim.hygro_t_alarm_lo_hst, 0.0f, 100.0f, "Get/Set hygro low temperature alarm hysteresis.", 0.0f),
#endif /* defined(FEATURE_HARDWARE_CHESTER_S2) */

	CTR_CONFIG_ITEM_ENUM("mode", m_config_interim.mode, ((const char*[]){"none", "lte"}), "Set communication mode", APP_CONFIG_MODE_LTE),

	/* ### Preserved code "config" (begin) */
	/* ^^^ Preserved code "config" (end) */

};
/* clang-format on */

/* ### Preserved code "function" (begin) */
/* ^^^ Preserved code "function" (end) */

int app_config_cmd_config_show(const struct shell *shell, size_t argc, char **argv)
{
	/* ### Preserved code "app_config_cmd_config_show start" (begin) */
	/* ^^^ Preserved code "app_config_cmd_config_show start" (end) */

	for (int i = 0; i < ARRAY_SIZE(items); i++) {
		ctr_config_show_item(shell, &items[i]);
	}

	/* ### Preserved code "app_config_cmd_config_show end" (begin) */
	/* ^^^ Preserved code "app_config_cmd_config_show end" (end) */

	return 0;
}

int app_config_cmd_config(const struct shell *shell, size_t argc, char **argv)
{
	/* ### Preserved code "app_config_cmd_config" (begin) */
	/* ^^^ Preserved code "app_config_cmd_config" (end) */
	return ctr_config_cmd_config(items, ARRAY_SIZE(items), shell, argc, argv);
}

static int h_set(const char *key, size_t len, settings_read_cb read_cb, void *cb_arg)
{
	/* ### Preserved code "h_set" (begin) */
	/* ^^^ Preserved code "h_set" (end) */

	return ctr_config_h_set(items, ARRAY_SIZE(items), key, len, read_cb, cb_arg);
}

static int h_commit(void)
{
	LOG_DBG("Loaded settings in full");

	/* ### Preserved code "h_commit" (begin) */
	/* ^^^ Preserved code "h_commit" (end) */

	memcpy(&g_app_config, &m_config_interim, sizeof(g_app_config));
	return 0;
}

static int h_export(int (*export_func)(const char *name, const void *val, size_t val_len))
{
	/* ### Preserved code "h_export" (begin) */
	/* ^^^ Preserved code "h_export" (end) */

	return ctr_config_h_export(items, ARRAY_SIZE(items), export_func);
}

static int init(void)
{
	int ret;

	LOG_INF("System initialization");

	for (int i = 0; i < ARRAY_SIZE(items); i++) {
		ctr_config_init_item(&items[i]);
	}

	static struct settings_handler sh = {
		.name = SETTINGS_PFX,
		.h_set = h_set,
		.h_commit = h_commit,
		.h_export = h_export,
	};

	ret = settings_register(&sh);
	if (ret) {
		LOG_ERR("Call `settings_register` failed: %d", ret);
		return ret;
	}

	ret = settings_load_subtree(SETTINGS_PFX);
	if (ret) {
		LOG_ERR("Call `settings_load_subtree` failed: %d", ret);
		return ret;
	}

	/* ### Preserved code "init" (begin) */
	/* ^^^ Preserved code "init" (end) */

	ctr_config_append_show(SETTINGS_PFX, app_config_cmd_config_show);

	return 0;
}

SYS_INIT(init, APPLICATION, CONFIG_APPLICATION_INIT_PRIORITY);
```

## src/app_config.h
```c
/*
 * Copyright (c) 2024 HARDWARIO a.s.
 *
 * SPDX-License-Identifier: LicenseRef-HARDWARIO-5-Clause
 */

#ifndef APP_CONFIG_H_
#define APP_CONFIG_H_

/* Zephyr includes */
#include <zephyr/shell/shell.h>

/* Standard includes */
#include <stdbool.h>
#include <stddef.h>

/* ### Preserved code "includes" (begin) */
/* ^^^ Preserved code "includes" (end) */

#ifdef __cplusplus
extern "C" {
#endif

enum app_config_mode {
	APP_CONFIG_MODE_NONE = 0,
	APP_CONFIG_MODE_LTE = 1,
};

struct app_config {
	int interval_sample;
	int interval_aggreg;
	int interval_report;
	int interval_poll;
	int downlink_wdg_interval;
	int event_report_delay;
	int event_report_rate;

#if defined(FEATURE_HARDWARE_CHESTER_S2)
	bool hygro_t_alarm_hi_report;
	bool hygro_t_alarm_lo_report;
	float hygro_t_alarm_hi_thr;
	float hygro_t_alarm_hi_hst;
	float hygro_t_alarm_lo_thr;
	float hygro_t_alarm_lo_hst;
#endif /* defined(FEATURE_HARDWARE_CHESTER_S2) */

	enum app_config_mode mode;

	/* ### Preserved code "struct variables" (begin) */
	/* ^^^ Preserved code "struct variables" (end) */
};

extern struct app_config g_app_config;

int app_config_cmd_config_show(const struct shell *shell, size_t argc, char **argv);
int app_config_cmd_config_mode(const struct shell *shell, size_t argc, char **argv);

int app_config_cmd_config(const struct shell *shell, size_t argc, char **argv);

/* ### Preserved code "functions" (begin) */
/* ^^^ Preserved code "functions" (end) */

#ifdef __cplusplus
}
#endif

#endif /* APP_CONFIG_H_ */
```

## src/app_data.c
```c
/*
 * Copyright (c) 2023 HARDWARIO a.s.
 *
 * SPDX-License-Identifier: LicenseRef-HARDWARIO-5-Clause
 */

#include "app_data.h"

/* CHESTER includes */
#include <chester/ctr_lte.h>

/* Zephyr includes */
#include <zephyr/kernel.h>

/* Standard includes */
#include <limits.h>
#include <math.h>
#include <stdbool.h>

/*
 * Keep `g_app_data` zero-initialized so it is placed in `.bss` (RAM only).
 * Non-zero initializers (NAN, INT_MAX) would move the whole structure to
 * `.data`, which occupies the same amount of FLASH and is copied on boot.
 * Non-zero defaults are set at runtime in `app_data_init()` instead.
 */
struct app_data g_app_data;

static K_MUTEX_DEFINE(m_lock);

int app_data_init(void)
{
	app_data_lock();

	g_app_data.accel_acceleration_x = NAN;
	g_app_data.accel_acceleration_y = NAN;
	g_app_data.accel_acceleration_z = NAN;
	g_app_data.accel_orientation = INT_MAX;
	g_app_data.therm_temperature = NAN;

#if defined(FEATURE_SUBSYSTEM_BLE_TAG)
	for (int i = 0; i < CTR_BLE_TAG_COUNT; i++) {
		g_app_data.ble_tag.sensor[i].last_sample_temperature = NAN;
		g_app_data.ble_tag.sensor[i].last_sample_humidity = NAN;
	}
#endif /* defined(FEATURE_SUBSYSTEM_BLE_TAG) */

	app_data_unlock();

	return 0;
}

void app_data_lock(void)
{
	k_mutex_lock(&m_lock, K_FOREVER);
}

void app_data_unlock(void)
{
	k_mutex_unlock(&m_lock);
}

K_MUTEX_DEFINE(g_app_data_lte_eval_mut);
bool g_app_data_lte_eval_valid;
struct ctr_lte_eval g_app_data_lte_eval;
```

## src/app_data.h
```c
/*
 * Copyright (c) 2023 HARDWARIO a.s.
 *
 * SPDX-License-Identifier: LicenseRef-HARDWARIO-5-Clause
 */

#ifndef APP_DATA_H_
#define APP_DATA_H_

#include "feature.h"

/* CHESTER includes */
#include <chester/ctr_ble_tag.h>
#include <chester/application/ctr_data.h>

/* Standard includes */
#include <stdbool.h>
#include <stdint.h>

#define APP_DATA_MAX_MEASUREMENTS  32
#define APP_DATA_MAX_SAMPLES       32
#define APP_DATA_MAX_HYGRO_EVENTS  32

#if defined(FEATURE_SUBSYSTEM_BLE_TAG)
#define APP_DATA_MAX_BLE_TAG_SAMPLES      16
#define APP_DATA_MAX_BLE_TAG_MEASUREMENTS 16
#endif /* defined(FEATURE_SUBSYSTEM_BLE_TAG) */

#if defined(FEATURE_SUBSYSTEM_DS18B20)
#define APP_DATA_W1_THERM_COUNT       10
#define APP_DATA_W1_THERM_MAX_SAMPLES 128
#endif /* defined(FEATURE_SUBSYSTEM_DS18B20) */

#ifdef _cplusplus
extern "C" {
#endif

#if defined(FEATURE_HARDWARE_CHESTER_MB7066_A) || defined(FEATURE_HARDWARE_CHESTER_MB7066_B)
struct app_data_sonar {
	int sample_count;
	float samples[APP_DATA_MAX_SAMPLES];

	int measurement_count;
	struct ctr_data_aggreg measurements[APP_DATA_MAX_MEASUREMENTS];

	int64_t timestamp;
};
#endif /* defined(FEATURE_HARDWARE_CHESTER_MB7066_A) || defined(FEATURE_HARDWARE_CHESTER_MB7066_B) \
	*/

#if defined(FEATURE_HARDWARE_CHESTER_S2)

enum app_data_hygro_event_type {
	APP_DATA_HYGRO_EVENT_TYPE_ALARM_HI_ACTIVATED,
	APP_DATA_HYGRO_EVENT_TYPE_ALARM_HI_DEACTIVATED,
	APP_DATA_HYGRO_EVENT_TYPE_ALARM_LO_ACTIVATED,
	APP_DATA_HYGRO_EVENT_TYPE_ALARM_LO_DEACTIVATED,
};

struct app_data_hygro_event {
	int64_t timestamp;
	enum app_data_hygro_event_type type;
	float value;
};

struct app_data_hygro_measurement {
	struct ctr_data_aggreg temperature;
	struct ctr_data_aggreg humidity;
};

struct app_data_hygro {
	int event_count;
	struct app_data_hygro_event events[APP_DATA_MAX_HYGRO_EVENTS];

	bool alarm_hi_active;
	bool alarm_lo_active;

	int sample_count;
	float samples_temperature[APP_DATA_MAX_SAMPLES];
	float samples_humidity[APP_DATA_MAX_SAMPLES];

	int measurement_count;
	struct app_data_hygro_measurement measurements[APP_DATA_MAX_MEASUREMENTS];

	int64_t timestamp;
};
#endif /* defined(FEATURE_HARDWARE_CHESTER_S2) */

#if defined(FEATURE_SUBSYSTEM_DS18B20)
struct app_data_w1_therm_measurement {
	struct ctr_data_aggreg temperature;
};

struct app_data_w1_therm_sensor {
	uint64_t serial_number;

	float last_sample_temperature;

	int sample_count;
	float samples_temperature[APP_DATA_MAX_SAMPLES];

	int measurement_count;
	struct app_data_w1_therm_measurement measurements[APP_DATA_MAX_MEASUREMENTS];
};

struct app_data_w1_therm {
	struct app_data_w1_therm_sensor sensor[APP_DATA_W1_THERM_COUNT];

	int64_t timestamp;
	atomic_t sample;
	atomic_t aggreg;
};
#endif /* defined(FEATURE_SUBSYSTEM_DS18B20) */

#if defined(FEATURE_SUBSYSTEM_BLE_TAG)

struct app_data_ble_tag_measurement {
	struct ctr_data_aggreg temperature;
	struct ctr_data_aggreg humidity;
};

struct app_data_ble_tag_sensor {
	uint8_t addr[BT_ADDR_SIZE];

	int8_t rssi;
	float voltage;

	float last_sample_temperature;
	float last_sample_humidity;

	int sample_count;
	float samples_temperature[APP_DATA_MAX_SAMPLES];
	float samples_humidity[APP_DATA_MAX_SAMPLES];

	int measurement_count;
	struct app_data_ble_tag_measurement measurements[APP_DATA_MAX_BLE_TAG_MEASUREMENTS];
};

struct app_data_ble_tag {
	struct app_data_ble_tag_sensor sensor[CTR_BLE_TAG_COUNT];

	int64_t timestamp;
	atomic_t sample;
	atomic_t aggreg;
};

#endif /* defined(FEATURE_SUBSYSTEM_BLE_TAG) */

struct app_data {
	float therm_temperature;
	float accel_acceleration_x;
	float accel_acceleration_y;
	float accel_acceleration_z;
	int accel_orientation;

#if defined(FEATURE_HARDWARE_CHESTER_MB7066_A) || defined(FEATURE_HARDWARE_CHESTER_MB7066_B)
	struct app_data_sonar sonar;
#endif /* defined(FEATURE_HARDWARE_CHESTER_MB7066_A) || defined(FEATURE_HARDWARE_CHESTER_MB7066_B) \
	*/

#if defined(FEATURE_HARDWARE_CHESTER_S2)
	struct app_data_hygro hygro;
#endif /* defined(FEATURE_HARDWARE_CHESTER_S2) */

#if defined(FEATURE_SUBSYSTEM_DS18B20)
	struct app_data_w1_therm w1_therm;
#endif /* defined(FEATURE_SUBSYSTEM_DS18B20) */

#if defined(FEATURE_SUBSYSTEM_BLE_TAG)
	struct app_data_ble_tag ble_tag;
#endif /* defined(FEATURE_SUBSYSTEM_BLE_TAG) */
};

extern struct app_data g_app_data;

/* TODO Delete */
extern struct k_mutex g_app_data_lte_eval_mut;
extern bool g_app_data_lte_eval_valid;
extern struct ctr_lte_eval g_app_data_lte_eval;

int app_data_init(void);
void app_data_lock(void);
void app_data_unlock(void);

#ifdef _cplusplus
}
#endif

#endif /* APP_DATA_H_ */
```

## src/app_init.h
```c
#ifndef APP_INIT_H_
#define APP_INIT_H_

/* Zephyr includes */
#include <zephyr/kernel.h>

#ifdef __cplusplus
extern "C" {
#endif

extern struct k_sem g_app_init_sem;

int app_init(void);

#ifdef __cplusplus
}
#endif

#endif /* APP_INIT_H_ */
```
